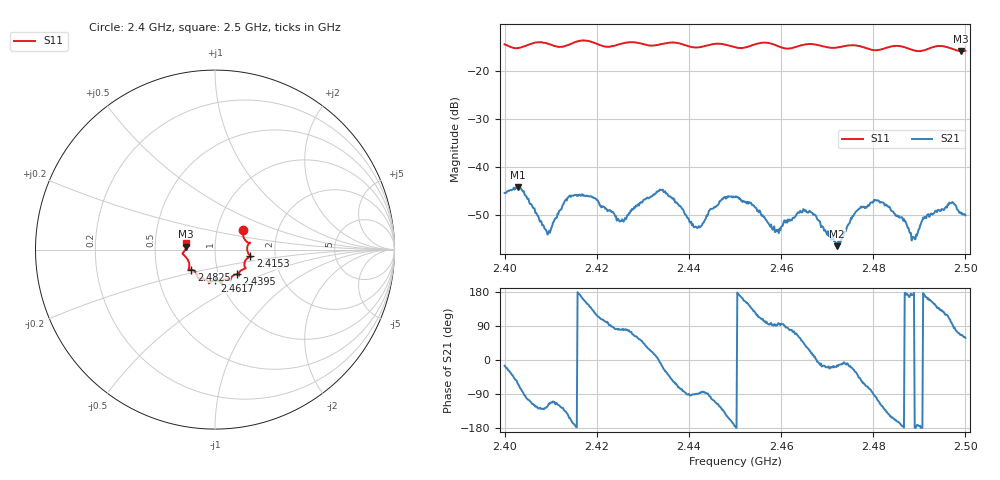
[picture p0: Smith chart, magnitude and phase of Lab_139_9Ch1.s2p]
# Hz S RI R 50
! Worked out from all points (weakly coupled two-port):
!   601 points, 2.4 GHz to 2.5 GHz, reference 50 ohm
!   highest |S21| = -44.17 dB at 2.4028 GHz (marker M1); lowest = -56.5 dB at 2.4722 GHz (marker M2)
!   lowest |S11| = -15.8 dB at 2.499 GHz (marker M3), VSWR 1.38, Z = 36.2 + j1.28 ohm
!   |S11| at or under -10 dB: start of sweep to end of sweep
!   S12 and S22 are empty: the file has one direction only
!   S11 on the Smith chart (normalised r, x): 2.4 GHz: 1.33, +0.30; 2.4153 GHz: 1.49, -0.11; 2.4395 GHz: 1.22, -0.35; 2.4617 GHz: 0.94, -0.33; 2.4825 GHz: 0.75, -0.17; 2.5 GHz: 0.72, +0.05
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2.4e9  0.1561 0.1085  0.0052 -0.00141  0 0  0 0
2.402833e9  0.162 0.0624  0.0029 -0.00547  0 0  0 0
2.4095e9  0.1894 0.0345  -0.000958 -0.00183  0 0  0 0
2.415333e9  0.1972 -0.037  -0.0051 -0.000572  0 0  0 0
2.416667e9  0.2039 -0.0417  -0.00495 0.00119  0 0  0 0
2.425333e9  0.1667 -0.0975  0.000468 0.00271  0 0  0 0
2.433333e9  0.1327 -0.1331  0.00563 0.000237  0 0  0 0
2.4395e9  0.1224 -0.1378  -4.47e-05 -0.00308  0 0  0 0
2.442167e9  0.097 -0.148  8.52e-05 -0.00243  0 0  0 0
2.45e9  0.0666 -0.1645  -0.00488 -0.000412  0 0  0 0
2.4585e9  0.0349 -0.1857  -0.000197 0.00241  0 0  0 0
2.461667e9  0.000697 -0.1718  0.000409 0.00272  0 0  0 0
2.466667e9  -0.0337 -0.1884  0.00318 0.00105  0 0  0 0
2.472167e9  -0.0691 -0.1618  0.00146 -0.000365  0 0  0 0
2.476833e9  -0.0951 -0.1565  0.00252 -0.00264  0 0  0 0
2.4825e9  -0.1321 -0.1112  -0.00261 -0.00299  0 0  0 0
2.483333e9  -0.1393 -0.1104  -0.00302 -0.00233  0 0  0 0
2.488833e9  -0.1435 -0.0798  -0.00185 9.09e-05  0 0  0 0
2.491333e9  -0.1604 -0.044  -0.00292 0.000701  0 0  0 0
2.496667e9  -0.1736 -0.0126  -0.00121 0.00401  0 0  0 0
2.499e9  -0.1604 0.0172  0.00139 0.00307  0 0  0 0
2.5e9  -0.1596 0.0349  0.00166 0.00267  0 0  0 0
